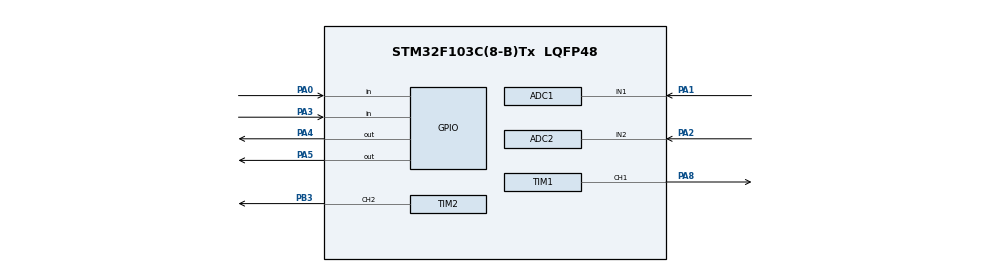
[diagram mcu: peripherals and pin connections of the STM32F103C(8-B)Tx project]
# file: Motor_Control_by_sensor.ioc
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ADC1.Channel-0\#ChannelRegularConversion=ADC_CHANNEL_1
ADC1.NbrOfConversionFlag=1
ADC1.Rank-0\#ChannelRegularConversion=1
ADC1.SamplingTime-0\#ChannelRegularConversion=ADC_SAMPLETIME_1CYCLE_5
ADC1.master=1
ADC2.Channel-0\#ChannelRegularConversion=ADC_CHANNEL_2
ADC2.NbrOfConversionFlag=1
ADC2.Rank-0\#ChannelRegularConversion=1
ADC2.SamplingTime-0\#ChannelRegularConversion=ADC_SAMPLETIME_1CYCLE_5
Mcu.Family=STM32F1
Mcu.Name=STM32F103C(8-B)Tx
Mcu.Package=LQFP48
NVIC.PriorityGroup=NVIC_PRIORITYGROUP_4
PA0-WKUP.GPIO_PuPd=GPIO_PULLUP
PA0-WKUP.Signal=GPIO_Input
PA1.Signal=ADCx_IN1
PA13.Mode=Serial_Wire
PA13.Signal=SYS_JTMS-SWDIO
PA14.Mode=Serial_Wire
PA14.Signal=SYS_JTCK-SWCLK
PA2.Signal=ADCx_IN2
PA3.GPIO_PuPd=GPIO_PULLUP
PA3.Signal=GPIO_Input
PA4.Signal=GPIO_Output
PA5.Signal=GPIO_Output
PA8.Signal=S_TIM1_CH1
PB3.Signal=S_TIM2_CH2
PD0-OSC_IN.Mode=HSE-External-Oscillator
PD0-OSC_IN.Signal=RCC_OSC_IN
PD1-OSC_OUT.Mode=HSE-External-Oscillator
PD1-OSC_OUT.Signal=RCC_OSC_OUT
ProjectManager.HeapSize=0x200
ProjectManager.StackSize=0x400
ProjectManager.TargetToolchain=MDK-ARM V5.32
RCC.APB1Freq_Value=8000000
RCC.APB2Freq_Value=8000000
SH.ADCx_IN1.0=ADC1_IN1,IN1
SH.ADCx_IN2.0=ADC2_IN2,IN2
SH.S_TIM1_CH1.0=TIM1_CH1,PWM Generation1 CH1
SH.S_TIM2_CH2.0=TIM2_CH2,PWM Generation2 CH2
TIM1.Channel-PWM\ Generation1\ CH1=TIM_CHANNEL_1
TIM1.Period=999
TIM1.Prescaler=72
TIM2.Channel-PWM\ Generation2\ CH2=TIM_CHANNEL_2
TIM2.Period=999
TIM2.Prescaler=71
VP_TIM1_VS_ClockSourceINT.Mode=Internal
VP_TIM2_VS_ClockSourceINT.Mode=Internal
board=custom

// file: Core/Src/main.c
/* USER CODE BEGIN Header */
/**
  ******************************************************************************
  * @file           : main.c
  * @brief          : Main program body
  ******************************************************************************
  * @attention
  *
  * Copyright (c) 2022 STMicroelectronics.
  * All rights reserved.
  *
  * This software is licensed under terms that can be found in the LICENSE file
  * in the root directory of this software component.
  * If no LICENSE file comes with this software, it is provided AS-IS.
  *
  ******************************************************************************
  */
/* USER CODE END Header */
#include "main.h"

/* USER CODE BEGIN Includes */
#include "Button.h"
#include "AD_convert.h"
/* USER CODE END Includes */

ADC_HandleTypeDef hadc1;
ADC_HandleTypeDef hadc2;

TIM_HandleTypeDef htim1;
TIM_HandleTypeDef htim2;

void SystemClock_Config(void);
static void MX_GPIO_Init(void);
static void MX_ADC1_Init(void);
static void MX_ADC2_Init(void);
static void MX_TIM1_Init(void);
static void MX_TIM2_Init(void);
/* USER CODE BEGIN PFP */

//
//How this project work:
//_ Press first button to change state: state1: stop -> state2:motor go clock wise
//-> state3: stop -> state4:motor go counter clockwise -> back to 1
//_ Press the second button to change the sensor between photodiode sensor or rheostat
//

#define Modee 1	//change mode
#define Speedd 2	//change sensor input

uint8_t test_btn;
uint8_t test_mode;
uint8_t test_speed;
uint8_t test_duty;
/* USER CODE END PFP */

/* USER CODE BEGIN 0 */

//test if button has been changed
void Test_button()
{
	test_btn++;
}

//test if mode has been changed
void Test_Mode(uint8_t mode)
{
	test_mode = mode;
}

//test if sensor has been changed
void Test_Speed(uint8_t speed)
{
	test_speed = speed;
}

//test if speed has been changed
void Test_Duty(uint8_t Duty)
{
	test_duty = Duty;
}

Button_t btn1, btn2;
ADC_t adc_1, adc_2;
/* USER CODE END 0 */

int main(void)
{

  /* MCU Configuration--------------------------------------------------------*/

  /* Reset of all peripherals, Initializes the Flash interface and the Systick. */
  HAL_Init();

  /* Configure the system clock */
  SystemClock_Config();

  /* Initialize all configured peripherals */
  MX_GPIO_Init();
  MX_ADC1_Init();
  MX_ADC2_Init();
  MX_TIM1_Init();
  MX_TIM2_Init();
  /* USER CODE BEGIN 2 */
	HAL_ADCEx_Calibration_Start(&hadc1);	//fixed error for ADC
	HAL_TIM_PWM_Start(&htim1,TIM_CHANNEL_1);
	HAL_TIM_PWM_Start(&htim2,TIM_CHANNEL_2);
	Button_init(&btn1,GPIOA,GPIO_PIN_0);
	Button_init(&btn2,GPIOA,GPIO_PIN_3);
	ADC_init(&adc_1,&hadc1);
	ADC_init(&adc_2,&hadc2);
  /* USER CODE END 2 */

  /* Infinite loop */
  while (1)
  {

    /* USER CODE BEGIN 3 */
		Button_handle(&btn2,Speedd);
		Button_handle(&btn1,Modee);
  }
  /* USER CODE END 3 */
}

void SystemClock_Config(void)
{
  RCC_OscInitTypeDef RCC_OscInitStruct = {0};
  RCC_ClkInitTypeDef RCC_ClkInitStruct = {0};
  RCC_PeriphCLKInitTypeDef PeriphClkInit = {0};

  /** Initializes the RCC Oscillators according to the specified parameters
  * in the RCC_OscInitTypeDef structure.
  */
  RCC_OscInitStruct.OscillatorType = RCC_OSCILLATORTYPE_HSI;
  RCC_OscInitStruct.HSIState = RCC_HSI_ON;
  RCC_OscInitStruct.HSICalibrationValue = RCC_HSICALIBRATION_DEFAULT;
  RCC_OscInitStruct.PLL.PLLState = RCC_PLL_NONE;
  if (HAL_RCC_OscConfig(&RCC_OscInitStruct) != HAL_OK)
  {
    Error_Handler();
  }

  /** Initializes the CPU, AHB and APB buses clocks
  */
  RCC_ClkInitStruct.ClockType = RCC_CLOCKTYPE_HCLK|RCC_CLOCKTYPE_SYSCLK
                              |RCC_CLOCKTYPE_PCLK1|RCC_CLOCKTYPE_PCLK2;
  RCC_ClkInitStruct.SYSCLKSource = RCC_SYSCLKSOURCE_HSI;
  RCC_ClkInitStruct.AHBCLKDivider = RCC_SYSCLK_DIV1;
  RCC_ClkInitStruct.APB1CLKDivider = RCC_HCLK_DIV1;
  RCC_ClkInitStruct.APB2CLKDivider = RCC_HCLK_DIV1;

  if (HAL_RCC_ClockConfig(&RCC_ClkInitStruct, FLASH_LATENCY_0) != HAL_OK)
  {
    Error_Handler();
  }
  PeriphClkInit.PeriphClockSelection = RCC_PERIPHCLK_ADC;
  PeriphClkInit.AdcClockSelection = RCC_ADCPCLK2_DIV2;
  if (HAL_RCCEx_PeriphCLKConfig(&PeriphClkInit) != HAL_OK)
  {
    Error_Handler();
  }
}

static void MX_ADC1_Init(void)
{

  ADC_ChannelConfTypeDef sConfig = {0};

  /** Common config
  */
  hadc1.Instance = ADC1;
  hadc1.Init.ScanConvMode = ADC_SCAN_DISABLE;
  hadc1.Init.ContinuousConvMode = DISABLE;
  hadc1.Init.DiscontinuousConvMode = DISABLE;
  hadc1.Init.ExternalTrigConv = ADC_SOFTWARE_START;
  hadc1.Init.DataAlign = ADC_DATAALIGN_RIGHT;
  hadc1.Init.NbrOfConversion = 1;
  if (HAL_ADC_Init(&hadc1) != HAL_OK)
  {
    Error_Handler();
  }

  /** Configure Regular Channel
  */
  sConfig.Channel = ADC_CHANNEL_1;
  sConfig.Rank = ADC_REGULAR_RANK_1;
  sConfig.SamplingTime = ADC_SAMPLETIME_1CYCLE_5;
  if (HAL_ADC_ConfigChannel(&hadc1, &sConfig) != HAL_OK)
  {
    Error_Handler();
  }

}

static void MX_ADC2_Init(void)
{

  ADC_ChannelConfTypeDef sConfig = {0};

  /** Common config
  */
  hadc2.Instance = ADC2;
  hadc2.Init.ScanConvMode = ADC_SCAN_DISABLE;
  hadc2.Init.ContinuousConvMode = DISABLE;
  hadc2.Init.DiscontinuousConvMode = DISABLE;
  hadc2.Init.ExternalTrigConv = ADC_SOFTWARE_START;
  hadc2.Init.DataAlign = ADC_DATAALIGN_RIGHT;
  hadc2.Init.NbrOfConversion = 1;
  if (HAL_ADC_Init(&hadc2) != HAL_OK)
  {
    Error_Handler();
  }

  /** Configure Regular Channel
  */
  sConfig.Channel = ADC_CHANNEL_2;
  sConfig.Rank = ADC_REGULAR_RANK_1;
  sConfig.SamplingTime = ADC_SAMPLETIME_1CYCLE_5;
  if (HAL_ADC_ConfigChannel(&hadc2, &sConfig) != HAL_OK)
  {
    Error_Handler();
  }

}

static void MX_TIM1_Init(void)
{

  TIM_ClockConfigTypeDef sClockSourceConfig = {0};
  TIM_MasterConfigTypeDef sMasterConfig = {0};
  TIM_OC_InitTypeDef sConfigOC = {0};
  TIM_BreakDeadTimeConfigTypeDef sBreakDeadTimeConfig = {0};

  htim1.Instance = TIM1;
  htim1.Init.Prescaler = 72;
  htim1.Init.CounterMode = TIM_COUNTERMODE_UP;
  htim1.Init.Period = 999;
  htim1.Init.ClockDivision = TIM_CLOCKDIVISION_DIV1;
  htim1.Init.RepetitionCounter = 0;
  htim1.Init.AutoReloadPreload = TIM_AUTORELOAD_PRELOAD_DISABLE;
  if (HAL_TIM_Base_Init(&htim1) != HAL_OK)
  {
    Error_Handler();
  }
  sClockSourceConfig.ClockSource = TIM_CLOCKSOURCE_INTERNAL;
  if (HAL_TIM_ConfigClockSource(&htim1, &sClockSourceConfig) != HAL_OK)
  {
    Error_Handler();
  }
  if (HAL_TIM_PWM_Init(&htim1) != HAL_OK)
  {
    Error_Handler();
  }
  sMasterConfig.MasterOutputTrigger = TIM_TRGO_RESET;
  sMasterConfig.MasterSlaveMode = TIM_MASTERSLAVEMODE_DISABLE;
  if (HAL_TIMEx_MasterConfigSynchronization(&htim1, &sMasterConfig) != HAL_OK)
  {
    Error_Handler();
  }
  sConfigOC.OCMode = TIM_OCMODE_PWM1;
  sConfigOC.Pulse = 0;
  sConfigOC.OCPolarity = TIM_OCPOLARITY_HIGH;
  sConfigOC.OCNPolarity = TIM_OCNPOLARITY_HIGH;
  sConfigOC.OCFastMode = TIM_OCFAST_DISABLE;
  sConfigOC.OCIdleState = TIM_OCIDLESTATE_RESET;
  sConfigOC.OCNIdleState = TIM_OCNIDLESTATE_RESET;
  if (HAL_TIM_PWM_ConfigChannel(&htim1, &sConfigOC, TIM_CHANNEL_1) != HAL_OK)
  {
    Error_Handler();
  }
  sBreakDeadTimeConfig.OffStateRunMode = TIM_OSSR_DISABLE;
  sBreakDeadTimeConfig.OffStateIDLEMode = TIM_OSSI_DISABLE;
  sBreakDeadTimeConfig.LockLevel = TIM_LOCKLEVEL_OFF;
  sBreakDeadTimeConfig.DeadTime = 0;
  sBreakDeadTimeConfig.BreakState = TIM_BREAK_DISABLE;
  sBreakDeadTimeConfig.BreakPolarity = TIM_BREAKPOLARITY_HIGH;
  sBreakDeadTimeConfig.AutomaticOutput = TIM_AUTOMATICOUTPUT_DISABLE;
  if (HAL_TIMEx_ConfigBreakDeadTime(&htim1, &sBreakDeadTimeConfig) != HAL_OK)
  {
    Error_Handler();
  }
  HAL_TIM_MspPostInit(&htim1);

}

static void MX_TIM2_Init(void)
{

  TIM_ClockConfigTypeDef sClockSourceConfig = {0};
  TIM_MasterConfigTypeDef sMasterConfig = {0};
  TIM_OC_InitTypeDef sConfigOC = {0};

  htim2.Instance = TIM2;
  htim2.Init.Prescaler = 71;
  htim2.Init.CounterMode = TIM_COUNTERMODE_UP;
  htim2.Init.Period = 999;
  htim2.Init.ClockDivision = TIM_CLOCKDIVISION_DIV1;
  htim2.Init.AutoReloadPreload = TIM_AUTORELOAD_PRELOAD_DISABLE;
  if (HAL_TIM_Base_Init(&htim2) != HAL_OK)
  {
    Error_Handler();
  }
  sClockSourceConfig.ClockSource = TIM_CLOCKSOURCE_INTERNAL;
  if (HAL_TIM_ConfigClockSource(&htim2, &sClockSourceConfig) != HAL_OK)
  {
    Error_Handler();
  }
  if (HAL_TIM_PWM_Init(&htim2) != HAL_OK)
  {
    Error_Handler();
  }
  sMasterConfig.MasterOutputTrigger = TIM_TRGO_RESET;
  sMasterConfig.MasterSlaveMode = TIM_MASTERSLAVEMODE_DISABLE;
  if (HAL_TIMEx_MasterConfigSynchronization(&htim2, &sMasterConfig) != HAL_OK)
  {
    Error_Handler();
  }
  sConfigOC.OCMode = TIM_OCMODE_PWM1;
  sConfigOC.Pulse = 0;
  sConfigOC.OCPolarity = TIM_OCPOLARITY_HIGH;
  sConfigOC.OCFastMode = TIM_OCFAST_DISABLE;
  if (HAL_TIM_PWM_ConfigChannel(&htim2, &sConfigOC, TIM_CHANNEL_2) != HAL_OK)
  {
    Error_Handler();
  }
  HAL_TIM_MspPostInit(&htim2);

}

static void MX_GPIO_Init(void)
{
  GPIO_InitTypeDef GPIO_InitStruct = {0};

  /* GPIO Ports Clock Enable */
  __HAL_RCC_GPIOD_CLK_ENABLE();
  __HAL_RCC_GPIOA_CLK_ENABLE();
  __HAL_RCC_GPIOB_CLK_ENABLE();

  /*Configure GPIO pin Output Level */
  HAL_GPIO_WritePin(GPIOA, GPIO_PIN_4|GPIO_PIN_5, GPIO_PIN_RESET);

  /*Configure GPIO pins : PA0 PA3 */
  GPIO_InitStruct.Pin = GPIO_PIN_0|GPIO_PIN_3;
  GPIO_InitStruct.Mode = GPIO_MODE_INPUT;
  GPIO_InitStruct.Pull = GPIO_PULLUP;
  HAL_GPIO_Init(GPIOA, &GPIO_InitStruct);

  /*Configure GPIO pins : PA4 PA5 */
  GPIO_InitStruct.Pin = GPIO_PIN_4|GPIO_PIN_5;
  GPIO_InitStruct.Mode = GPIO_MODE_OUTPUT_PP;
  GPIO_InitStruct.Pull = GPIO_NOPULL;
  GPIO_InitStruct.Speed = GPIO_SPEED_FREQ_LOW;
  HAL_GPIO_Init(GPIOA, &GPIO_InitStruct);

}

void Error_Handler(void)
{
  __disable_irq();
  while (1)
  {
  }
}
